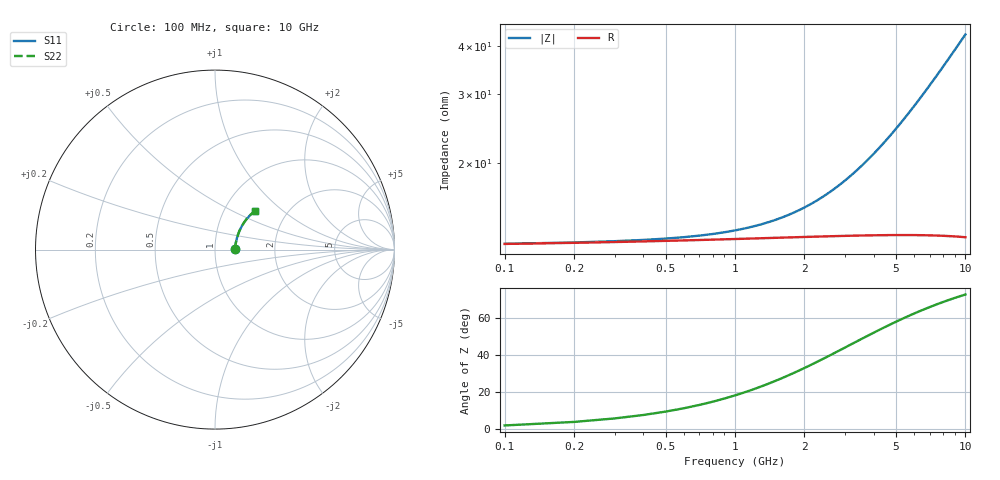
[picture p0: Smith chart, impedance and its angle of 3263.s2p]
# Hz S RI R 50.00
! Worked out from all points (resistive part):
!   100 points, 100 MHz to 10 GHz, reference 50 ohm
!   read as one part in series: R = 12.3 ohm at 100 MHz
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1e8  0.1099 0.00257  0.8901 -0.00402  0.8901 -0.00402  0.1099 0.00257
7e8  0.1128 0.0178  0.8872 -0.028  0.8872 -0.028  0.1128 0.0178
1e9  0.114 0.0254  0.8859 -0.0399  0.8859 -0.0399  0.114 0.0254
1.2e9  0.1148 0.0305  0.885 -0.0478  0.885 -0.0478  0.1148 0.0305
1.4e9  0.1157 0.0355  0.884 -0.0557  0.884 -0.0557  0.1157 0.0355
1.8e9  0.1177 0.0454  0.8819 -0.0715  0.8819 -0.0715  0.1177 0.0454
2.1e9  0.1194 0.0529  0.8801 -0.0833  0.8801 -0.0833  0.1194 0.0529
2.5e9  0.1218 0.0627  0.8775 -0.0989  0.8775 -0.0989  0.1218 0.0627
3.4e9  0.1285 0.0843  0.8702 -0.1335  0.8702 -0.1335  0.1285 0.0843
4.4e9  0.1377 0.1075  0.8601 -0.1712  0.8601 -0.1712  0.1377 0.1075
5.1e9  0.1453 0.1231  0.8517 -0.197  0.8517 -0.197  0.1453 0.1231
5.5e9  0.1501 0.1318  0.8465 -0.2115  0.8465 -0.2115  0.1501 0.1318
5.9e9  0.1551 0.1403  0.841 -0.2258  0.841 -0.2258  0.1551 0.1403
6.3e9  0.1604 0.1485  0.8352 -0.2399  0.8352 -0.2399  0.1604 0.1485
6.7e9  0.1659 0.1565  0.8291 -0.2537  0.8291 -0.2537  0.1659 0.1565
7.1e9  0.1717 0.1643  0.8227 -0.2673  0.8227 -0.2673  0.1717 0.1643
7.5e9  0.1777 0.1719  0.816 -0.2807  0.816 -0.2807  0.1777 0.1719
7.9e9  0.184 0.1792  0.809 -0.2939  0.809 -0.2939  0.184 0.1792
8.4e9  0.1921 0.188  0.8 -0.3099  0.8 -0.3099  0.1921 0.188
8.8e9  0.1988 0.1947  0.7925 -0.3225  0.7925 -0.3225  0.1988 0.1947
9.2e9  0.2057 0.2011  0.7848 -0.3348  0.7848 -0.3348  0.2057 0.2011
1e10  0.2201 0.2132  0.7687 -0.3586  0.7687 -0.3586  0.2201 0.2132
